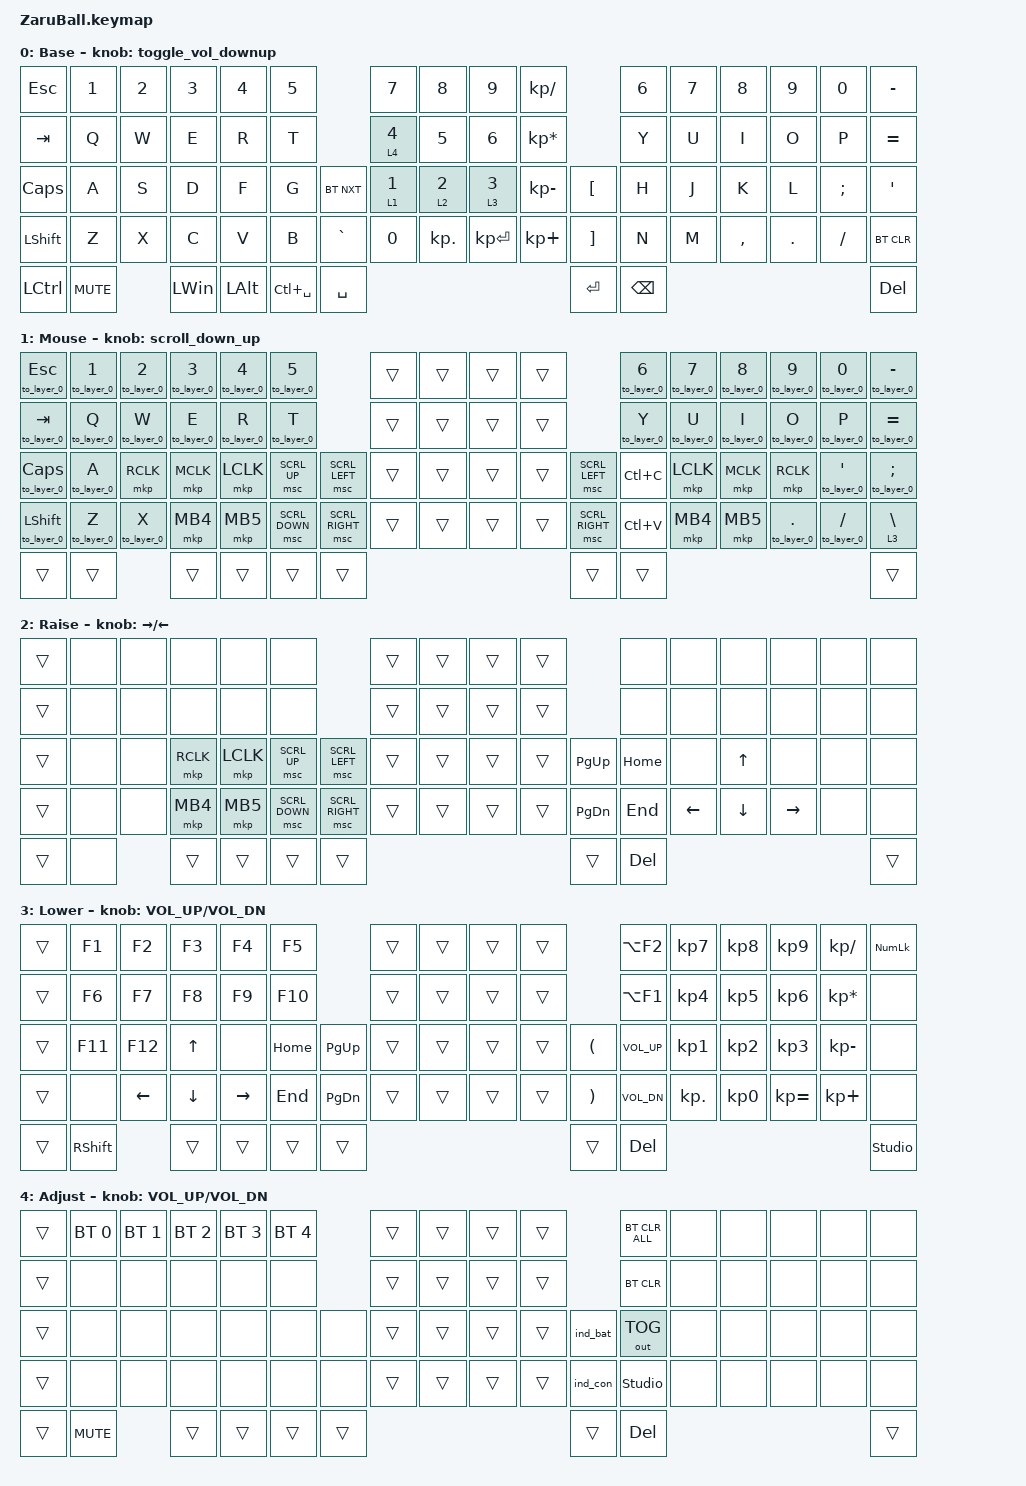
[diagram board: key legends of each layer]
//#include <dt-bindings/zmk/mouse.h>

#include <behaviors/rgbled_widget.dtsi>
#include <input/processors.dtsi>
#include <dt-bindings/zmk/input_transform.h>
#include <behaviors.dtsi>
#include <dt-bindings/zmk/bt.h>
#include <dt-bindings/zmk/keys.h>
#include <dt-bindings/zmk/outputs.h>
#include <dt-bindings/zmk/pointing.h>

#define BASE     0
#define MOUSE    1
#define LOWER    2
#define RAISE    3
#define ADJUST   4
#define SCROLL   2

// スクロール量の設定

#define ZMK_POINTING_DEFAULT_SCRL_VAL 100

&trackball_listener {
    input-processors = <
                         &zip_xy_transform (INPUT_TRANSFORM_XY_SWAP | INPUT_TRANSFORM_Y_INVERT | INPUT_TRANSFORM_X_INVERT)
                         &zip_xy_scaler 1 1
                         &zip_temp_layer MOUSE 500
    >;

    scroller {
        layers = <SCROLL>;
        input-processors = <
                            &zip_xy_transform (INPUT_TRANSFORM_XY_SWAP | INPUT_TRANSFORM_X_INVERT)
                            &zip_xy_scaler 1 20
                            &zip_xy_to_scroll_mapper
        >;
    };
};

/ {
    conditional_layers {
        compatible = "zmk,conditional-layers";

        tri_layer {
            if-layers = <3 2>;
            then-layer = <4>;
        };
    };
};

/ {
    behaviors {
        // スクロール用のbehaviorの設定

        scroll_down_up: behavior_sensor_rotate_mouse_wheel_down_up {
            compatible = "zmk,behavior-sensor-rotate";
            #sensor-binding-cells = <0>;
            bindings = <&msc SCRL_DOWN>, <&msc SCRL_UP>;

            tap-ms = <20>; // スクロールのタップ時間
        };

        td0: tap_dance_0 {
            compatible = "zmk,behavior-tap-dance";
            #binding-cells = <0>;
            tapping-term-ms = <200>;
            bindings = <&mt LALT LANG2>, <&mo 2>, <&mo 5>;
        };

        td1: tap_dance_1 {
            compatible = "zmk,behavior-tap-dance";
            #binding-cells = <0>;
            tapping-term-ms = <200>;
            bindings = <&mt RCTL LANG1>, <&mo 2>, <&mo 5>;
        };

        // Customed Hold-Tap for SandS

        SandS: SandS {
            compatible = "zmk,behavior-hold-tap";
            #binding-cells = <2>;
            flavor = "tap-unless-interrupted";
            tapping-term-ms = <500>;
            quick-tap-ms = <500>;
            bindings = <&kp>, <&kp>;

            display-name = "SandS";
        };

        toggle_vol_downup: toggle_vol_downup {
            compatible = "zmk,behavior-sensor-rotate";
            label = "TOGGLE_VOL_DOWNUP";
            #sensor-binding-cells = <0>;
            bindings = <&kp C_VOLUME_DOWN>, <&kp C_VOLUME_UP>;
        };
    };
};

&sl { release-after-ms = <250>; }; // time needed for double click (for mkp_exit_AML)
/ {
    macros {
        // When in AML, move to default layer when key (except mouse button) pressed

        to_layer_0: to_layer_0 {
            compatible = "zmk,behavior-macro-one-param";
            #binding-cells = <1>;
            bindings = <&tog 5 &macro_param_1to1 &kp MACRO_PLACEHOLDER>;
            label = "TO_layer_0";
        };

        // When LCLK pressed, exit AML (after 250ms cause by sticky layer

        mkp_exit_AML: mkp_exit_AML {
            compatible = "zmk,behavior-macro-one-param";
            #binding-cells = <1>;
            bindings =
                <&macro_press>,
                <&macro_param_1to1 &mkp MACRO_PLACEHOLDER>,
                <&macro_pause_for_release>,
                <&macro_release>,
                <&macro_param_1to1 &mkp MACRO_PLACEHOLDER>,
                <&macro_tap>,
                <&sl 5>;

            label = "MKP_EXIT_AML";
        };
    };
};

/ {
    keymap {
        compatible = "zmk,keymap";

        base_layer {
            display-name = "Base";
            sensor-bindings = <&toggle_vol_downup>;
            bindings = <
&kp ESC    &kp N1      &kp N2  &kp N3        &kp N4        &kp N5                       &kp N7          &kp N8          &kp N9          &kp KP_DIVIDE                 &kp NUMBER_6  &kp N7  &kp N8     &kp N9   &kp N0    &kp MINUS
&kp TAB    &kp Q       &kp W   &kp E         &kp R         &kp T                        &lt 4 NUMBER_4  &kp NUMBER_5    &kp NUMBER_6    &kp KP_MULTIPLY               &kp Y         &kp U   &kp I      &kp O    &kp P     &kp EQUAL
&kp CAPS   &kp A       &kp S   &kp D         &kp F         &kp G          &bt BT_NXT    &lt 1 NUMBER_1  &lt 2 NUMBER_2  &lt 3 NUMBER_3  &kp KP_MINUS       &kp LBKT   &kp H         &kp J   &kp K      &kp L    &kp SEMI  &kp SQT
&kp LSHFT  &kp Z       &kp X   &kp C         &kp V         &kp B          &kp GRAVE     &kp N0          &kp KP_DOT      &kp KP_ENTER    &kp KP_PLUS        &kp RBKT   &kp N         &kp M   &kp COMMA  &kp DOT  &kp FSLH  &bt BT_CLR
&kp LCTRL  &kp C_MUTE          &kp LEFT_WIN  &kp LEFT_ALT  &kp LC(SPACE)  &kp SPACE                                                                        &kp ENTER  &kp BSPC                                            &kp DELETE
            >;
        };

        mouse_layer {
            display-name = "Mouse";
            sensor-bindings = <&scroll_down_up>;
            bindings = <
&to_layer_0 ESC     &to_layer_0 N1  &to_layer_0 N2  &to_layer_0 N3  &to_layer_0 N4  &to_layer_0 N5                     &trans  &trans  &trans  &trans                     &to_layer_0 N6  &to_layer_0 N7  &to_layer_0 N8  &to_layer_0 N9      &to_layer_0 N0            &to_layer_0 MINUS
&to_layer_0 TAB     &to_layer_0 Q   &to_layer_0 W   &to_layer_0 E   &to_layer_0 R   &to_layer_0 T                      &trans  &trans  &trans  &trans                     &to_layer_0 Y   &to_layer_0 U   &to_layer_0 I   &to_layer_0 O       &to_layer_0 P             &to_layer_0 EQUAL
&to_layer_0 CAPS    &to_layer_0 A   &mkp RCLK       &mkp MCLK       &mkp LCLK       &msc SCRL_UP    &msc SCRL_LEFT     &trans  &trans  &trans  &trans    &msc SCRL_LEFT   &kp LC(C)       &mkp LCLK       &mkp MCLK       &mkp RCLK           &to_layer_0 SINGLE_QUOTE  &to_layer_0 SEMICOLON
&to_layer_0 LSHIFT  &to_layer_0 Z   &to_layer_0 X   &mkp MB4        &mkp MB5        &msc SCRL_DOWN  &msc SCRL_RIGHT    &trans  &trans  &trans  &trans    &msc SCRL_RIGHT  &kp LC(V)       &mkp MB4        &mkp MB5        &to_layer_0 PERIOD  &to_layer_0 SLASH         &lt 3 BACKSLASH
&trans              &trans                          &trans          &trans          &trans          &trans                                               &trans           &trans                                                                                        &trans
            >;
        };

        raise_layer {
            display-name = "Raise";
            sensor-bindings = <&inc_dec_kp RIGHT LEFT>;
            bindings = <
&trans  &none  &none  &none      &none      &none                              &trans  &trans  &trans  &trans               &none     &none     &none     &none      &none  &none
&trans  &none  &none  &none      &none      &none                              &trans  &trans  &trans  &trans               &none     &none     &none     &none      &none  &none
&trans  &none  &none  &mkp RCLK  &mkp LCLK  &msc SCRL_UP    &msc SCRL_LEFT     &trans  &trans  &trans  &trans    &kp PG_UP  &kp HOME  &none     &kp UP    &none      &none  &none
&trans  &none  &none  &mkp MB4   &mkp MB5   &msc SCRL_DOWN  &msc SCRL_RIGHT    &trans  &trans  &trans  &trans    &kp PG_DN  &kp END   &kp LEFT  &kp DOWN  &kp RIGHT  &none  &none
&trans  &none         &trans     &trans     &trans          &trans                                               &trans     &kp DEL                                         &trans
            >;
        };

        lower_layer {
            display-name = "Lower";
            sensor-bindings = <&inc_dec_kp C_VOL_UP C_VOL_DN>;
            bindings = <
&trans  &kp F1     &kp F2    &kp F3    &kp F4     &kp F5                 &trans  &trans  &trans  &trans              &kp LA(F2)    &kp KP_N7   &kp KP_N8  &kp KP_N9     &kp KP_SLASH     &kp KP_NUMLOCK
&trans  &kp F6     &kp F7    &kp F8    &kp F9     &kp F10                &trans  &trans  &trans  &trans              &kp LA(F1)    &kp KP_N4   &kp KP_N5  &kp KP_N6     &kp KP_MULTIPLY  &none
&trans  &kp F11    &kp F12   &kp UP    &none      &kp HOME  &kp PG_UP    &trans  &trans  &trans  &trans    &kp LPAR  &kp C_VOL_UP  &kp KP_N1   &kp KP_N2  &kp KP_N3     &kp KP_MINUS     &none
&trans  &none      &kp LEFT  &kp DOWN  &kp RIGHT  &kp END   &kp PG_DN    &trans  &trans  &trans  &trans    &kp RPAR  &kp C_VOL_DN  &kp KP_DOT  &kp KP_N0  &kp KP_EQUAL  &kp KP_PLUS      &none
&trans  &kp RSHFT            &trans    &trans     &trans    &trans                                         &trans    &kp DEL                                                             &studio_unlock
            >;
        };

        adjust_layer {
            display-name = "Adjust";
            sensor-bindings = <&inc_dec_kp C_VOL_UP C_VOL_DN>;
            bindings = <
&trans  &bt BT_SEL 0  &bt BT_SEL 1  &bt BT_SEL 2  &bt BT_SEL 3  &bt BT_SEL 4            &trans  &trans  &trans  &trans              &bt BT_CLR_ALL  &none  &none  &none  &none  &none
&trans  &none         &none         &none         &none         &none                   &trans  &trans  &trans  &trans              &bt BT_CLR      &none  &none  &none  &none  &none
&trans  &none         &none         &none         &none         &none         &none     &trans  &trans  &trans  &trans    &ind_bat  &out OUT_TOG    &none  &none  &none  &none  &none
&trans  &none         &none         &none         &none         &none         &none     &trans  &trans  &trans  &trans    &ind_con  &studio_unlock  &none  &none  &none  &none  &none
&trans  &kp C_MUTE                  &trans        &trans        &trans        &trans                                      &trans    &kp DEL                                     &trans
            >;
        };

        extra1 { status = "reserved"; };

        extra2 { status = "reserved"; };
    };
};
